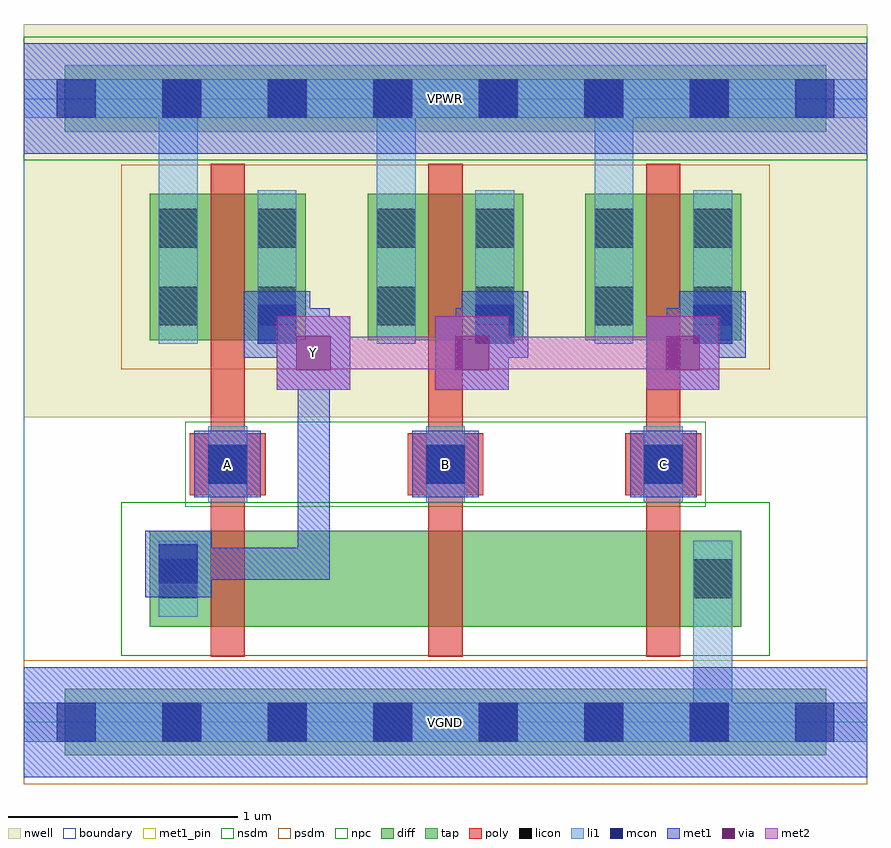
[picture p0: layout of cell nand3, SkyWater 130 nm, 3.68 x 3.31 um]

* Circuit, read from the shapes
.subckt nand3 A B C VGND VPWR Y
XM1 n1 A Y VGND sky130_fd_pr__nfet_01v8 w=0.42 l=0.15
XM2 n2 B n1 VGND sky130_fd_pr__nfet_01v8 w=0.42 l=0.15
XM3 VGND C n2 VGND sky130_fd_pr__nfet_01v8 w=0.42 l=0.15
XM4 Y A VPWR VPWR sky130_fd_pr__pfet_01v8 w=0.64 l=0.15
XM5 Y B VPWR VPWR sky130_fd_pr__pfet_01v8 w=0.64 l=0.15
XM6 Y C VPWR VPWR sky130_fd_pr__pfet_01v8 w=0.64 l=0.15
.ends

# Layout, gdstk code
import gdstk
lib = gdstk.Library(unit=1e-6, precision=1e-09)
def R(c, l, rs):  # rectangles x0, y0, x1, y1
    for r in rs: c.add(gdstk.rectangle(r[:2], r[2:], *l))
def A(c, l, x, y, w, h, nx, ny, dx, dy):  # array of equal rectangles
    R(c, l, [(x+i*dx, y+j*dy, x+i*dx+w, y+j*dy+h) for i in range(nx) for j in range(ny)])
nwell = (64, 20)
diff = (65, 20)
tap = (65, 44)
poly = (66, 20)
licon = (66, 44)
li1 = (67, 20)
mcon = (67, 44)
met1_pin = (68, 16)
met1 = (68, 20)
via = (68, 44)
met2 = (69, 20)
nsdm = (93, 44)
psdm = (94, 20)
npc = (95, 20)
boundary = (235, 4)

nand3 = lib.new_cell('nand3')
R(nand3, nwell, [(0,1.33,3.68,3.045)])
A(nand3, diff, 0.55, 1.665, 0.68, 0.64, 3, 1, 0.95, 0)
R(nand3, diff, [(0.55,0.415,3.13,0.835)])
R(nand3, tap, [(0.18,-0.145,3.5,0.145), (0.18,2.575,3.5,2.865)])
A(nand3, poly, 0.815, 0.285, 0.15, 2.15, 3, 1, 0.95, 0)
A(nand3, poly, 0.725, 0.99, 0.33, 0.27, 3, 1, 0.95, 0)
A(nand3, licon, 0.605, -0.085, 0.17, 0.17, 6, 2, 0.46, 2.72)
A(nand3, licon, 0.805, 1.04, 0.17, 0.17, 3, 1, 0.95, 0)
R(nand3, licon, [(0.59,0.54,0.76,0.71), (2.92,0.54,3.09,0.71), (0.59,1.73,0.76,1.9), (1.02,1.73,1.19,1.9), (1.54,1.73,1.71,1.9), (1.97,1.73,2.14,1.9), (2.49,1.73,2.66,1.9), (2.92,1.73,3.09,1.9), (0.59,2.07,0.76,2.24), (1.02,2.07,1.19,2.24), (1.54,2.07,1.71,2.24), (1.97,2.07,2.14,2.24), (2.49,2.07,2.66,2.24), (2.92,2.07,3.09,2.24)])
A(nand3, li1, 0.805, 0.96, 0.17, 0.33, 3, 1, 0.95, 0)
A(nand3, li1, 0.59, 1.65, 0.17, 1.155, 3, 1, 0.95, 0)
R(nand3, li1, [(0,-0.085,3.68,0.085), (2.92,-0.085,3.09,0.79), (0.59,0.46,0.76,0.79), (2.92,0.46,3.09,0.79), (0.59,1.65,0.76,2.32), (1.02,1.65,1.19,2.32), (1.54,1.65,1.71,2.32), (1.97,1.65,2.14,2.32), (2.49,1.65,2.66,2.32), (2.92,1.65,3.09,2.32), (0,2.635,3.68,2.805)])
A(nand3, mcon, 0.145, -0.085, 0.17, 0.17, 8, 2, 0.46, 2.72)
A(nand3, mcon, 0.805, 1.04, 0.17, 0.17, 3, 1, 0.95, 0)
A(nand3, mcon, 1.02, 1.65, 0.17, 0.17, 3, 1, 0.95, 0)
R(nand3, mcon, [(0.59,0.605,0.76,0.775)])
A(nand3, met1_pin, 0.745, 0.98, 0.29, 0.29, 3, 1, 0.95, 0)
R(nand3, met1_pin, [(0,-0.24,3.68,0.24), (1.105,1.45,1.425,1.77), (0,2.48,3.68,2.96)])
A(nand3, met1, 0.745, 0.98, 0.29, 0.29, 3, 1, 0.95, 0)
A(nand3, met1, 0.96, 1.59, 0.29, 0.29, 3, 1, 0.95, 0)
R(nand3, met1, [(0,-0.24,3.68,0.24), (0.53,0.545,0.82,0.835), (0.605,0.62,0.875,0.76), (0.735,0.62,1.335,0.76), (1.195,0.62,1.335,1.68), (1.105,1.45,1.425,1.77), (1.795,1.45,2.115,1.77), (2.715,1.45,3.035,1.77), (1.195,1.54,1.335,1.805), (1.885,1.54,2.025,1.805), (2.805,1.54,2.945,1.805), (1.035,1.665,1.335,1.805), (1.885,1.665,2.125,1.805), (2.805,1.665,3.075,1.805), (0,2.48,3.68,2.96)])
R(nand3, via, [(1.19,1.535,1.34,1.685), (1.88,1.535,2.03,1.685), (2.8,1.535,2.95,1.685)])
R(nand3, met2, [(1.105,1.45,1.425,1.77), (1.795,1.45,2.115,1.77), (2.715,1.45,3.035,1.77), (1.195,1.54,2.025,1.68), (1.885,1.54,2.945,1.68)])
R(nand3, nsdm, [(0.425,0.29,3.255,0.96), (0,2.45,3.68,2.99)])
R(nand3, psdm, [(0,-0.27,3.68,0.27), (0.425,1.54,3.255,2.43)])
R(nand3, npc, [(0.705,0.94,2.975,1.31)])
R(nand3, boundary, [(0,0,3.68,2.72)])
nand3.add(gdstk.Label('A', (0.89,1.125), layer=68, texttype=5))
nand3.add(gdstk.Label('B', (1.84,1.125), layer=68, texttype=5))
nand3.add(gdstk.Label('C', (2.79,1.125), layer=68, texttype=5))
nand3.add(gdstk.Label('Y', (1.265,1.61), layer=68, texttype=5))
nand3.add(gdstk.Label('VPWR', (1.84,2.72), layer=68, texttype=5))
nand3.add(gdstk.Label('VGND', (1.84,0), layer=68, texttype=5))
nand3.add(gdstk.Label('A', (0.89,1.125), layer=68, texttype=16))
nand3.add(gdstk.Label('B', (1.84,1.125), layer=68, texttype=16))
nand3.add(gdstk.Label('C', (2.79,1.125), layer=68, texttype=16))
nand3.add(gdstk.Label('Y', (1.265,1.61), layer=68, texttype=16))
nand3.add(gdstk.Label('VPWR', (1.84,2.72), layer=68, texttype=16))
nand3.add(gdstk.Label('VGND', (1.84,0), layer=68, texttype=16))

lib.write_gds('nand3.gds')
